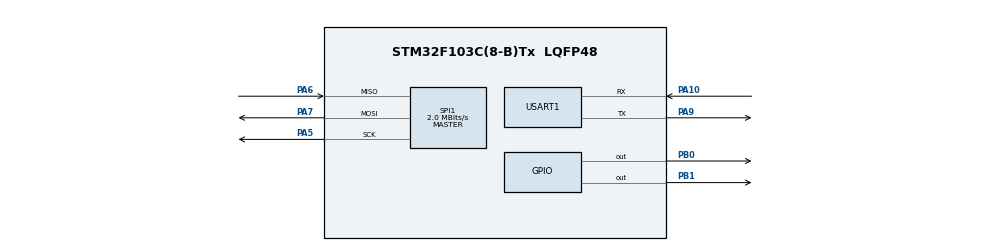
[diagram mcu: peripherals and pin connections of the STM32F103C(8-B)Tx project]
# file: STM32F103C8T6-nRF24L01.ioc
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Mcu.Family=STM32F1
Mcu.Name=STM32F103C(8-B)Tx
Mcu.Package=LQFP48
NVIC.PriorityGroup=NVIC_PRIORITYGROUP_4
PA10.Mode=Asynchronous
PA10.Signal=USART1_RX
PA13.Mode=Serial_Wire
PA13.Signal=SYS_JTMS-SWDIO
PA14.Mode=Serial_Wire
PA14.Signal=SYS_JTCK-SWCLK
PA5.Mode=Full_Duplex_Master
PA5.Signal=SPI1_SCK
PA6.Mode=Full_Duplex_Master
PA6.Signal=SPI1_MISO
PA7.Mode=Full_Duplex_Master
PA7.Signal=SPI1_MOSI
PA9.Mode=Asynchronous
PA9.Signal=USART1_TX
PB0.Signal=GPIO_Output
PB1.Signal=GPIO_Output
ProjectManager.HeapSize=0x200
ProjectManager.StackSize=0x400
ProjectManager.TargetToolchain=STM32CubeIDE
RCC.APB1Freq_Value=8000000
RCC.APB2Freq_Value=8000000
SPI1.BaudRatePrescaler=SPI_BAUDRATEPRESCALER_4
SPI1.CalculateBaudRate=2.0 MBits/s
SPI1.Direction=SPI_DIRECTION_2LINES
SPI1.Mode=SPI_MODE_MASTER
SPI1.VirtualType=VM_MASTER
USART1.VirtualMode=VM_ASYNC
board=custom

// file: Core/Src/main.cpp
/* USER CODE BEGIN Header */
/**
  ******************************************************************************
  * @file           : main.c
  * @brief          : Main program body
  ******************************************************************************
  * @attention
  *
  * Copyright (c) 2022 STMicroelectronics.
  * All rights reserved.
  *
  * This software is licensed under terms that can be found in the LICENSE file
  * in the root directory of this software component.
  * If no LICENSE file comes with this software, it is provided AS-IS.
  *
  ******************************************************************************
  */
/* USER CODE END Header */
#include "main.h"

/* USER CODE BEGIN Includes */
#include "RF24.h"
/* USER CODE END Includes */

/* USER CODE BEGIN PTD */
#define MODE_TX
/* USER CODE END PTD */

SPI_HandleTypeDef hspi10;
SPI_HandleTypeDef hspi11;

UART_HandleTypeDef huart1;

/* USER CODE BEGIN PV */
const uint8_t address[6] = "00001";
/* USER CODE END PV */

void SystemClock_Config(void);
static void MX_GPIO_Init(void);
static void MX_SPI1_Init(void);
static void MX_USART1_UART_Init(void);

/* USER CODE BEGIN 0 */

void delayMicroseconds(uint32_t us)
{
	while(us--);
}

void digitalWrite(uint16_t pin, bool level)
{
	if(level)HAL_GPIO_WritePin(GPIOB, pin, GPIO_PIN_SET);
	else HAL_GPIO_WritePin(GPIOB, pin, GPIO_PIN_RESET);
}

uint8_t spiTransfer(SPI_HandleTypeDef hspi, uint8_t data)
{
	uint8_t value = 0;
	if(hspi==hspi10)
	{
		HAL_SPI_TransmitReceive(&hspi1, &data, &value, 1, 100);
	}
	else
	{

	}

	return value;
}

RF24 radio(GPIO_PIN_0, GPIO_PIN_1); // CE, CSN
/* USER CODE END 0 */

int main(void)
{

  /* MCU Configuration--------------------------------------------------------*/

  /* Reset of all peripherals, Initializes the Flash interface and the Systick. */
  HAL_Init();

  /* Configure the system clock */
  SystemClock_Config();

  /* Initialize all configured peripherals */
  MX_GPIO_Init();
  MX_SPI1_Init();
  MX_USART1_UART_Init();
  /* USER CODE BEGIN 2 */

  radio.begin();                  //Starting the Wireless communication
  radio.openWritingPipe(address); //Setting the address where we will send the data
  radio.setPALevel(RF24_PA_MIN);  //You can set it as minimum or maximum depending on the distance between the transmitter and receiver.
  radio.stopListening();
  /* USER CODE END 2 */

  /* Infinite loop */
  /* USER CODE BEGIN WHILE */
  while (1)
  {

#if defined(MODE_TX)
//	  if(nhấn nuts)
//	  {
	  	  const char text[] = "Xin chao Hung";
		  radio.write(&text, sizeof(text));
//	  }
#else
		  if (radio.available())
		  {
			  char text[10];
			  radio.read(&text, sizeof(text));    //Reading the data
		  }
#endif
    /* USER CODE END WHILE */

  }
}

void SystemClock_Config(void)
{
  RCC_OscInitTypeDef RCC_OscInitStruct = {0};
  RCC_ClkInitTypeDef RCC_ClkInitStruct = {0};

  /** Initializes the RCC Oscillators according to the specified parameters
  * in the RCC_OscInitTypeDef structure.
  */
  RCC_OscInitStruct.OscillatorType = RCC_OSCILLATORTYPE_HSI;
  RCC_OscInitStruct.HSIState = RCC_HSI_ON;
  RCC_OscInitStruct.HSICalibrationValue = RCC_HSICALIBRATION_DEFAULT;
  RCC_OscInitStruct.PLL.PLLState = RCC_PLL_NONE;
  if (HAL_RCC_OscConfig(&RCC_OscInitStruct) != HAL_OK)
  {
    Error_Handler();
  }
  /** Initializes the CPU, AHB and APB buses clocks
  */
  RCC_ClkInitStruct.ClockType = RCC_CLOCKTYPE_HCLK|RCC_CLOCKTYPE_SYSCLK
                              |RCC_CLOCKTYPE_PCLK1|RCC_CLOCKTYPE_PCLK2;
  RCC_ClkInitStruct.SYSCLKSource = RCC_SYSCLKSOURCE_HSI;
  RCC_ClkInitStruct.AHBCLKDivider = RCC_SYSCLK_DIV1;
  RCC_ClkInitStruct.APB1CLKDivider = RCC_HCLK_DIV1;
  RCC_ClkInitStruct.APB2CLKDivider = RCC_HCLK_DIV1;

  if (HAL_RCC_ClockConfig(&RCC_ClkInitStruct, FLASH_LATENCY_0) != HAL_OK)
  {
    Error_Handler();
  }
}

static void MX_SPI1_Init(void)
{

  /* SPI1 parameter configuration*/
  hspi1.Instance = SPI1;
  hspi1.Init.Mode = SPI_MODE_MASTER;
  hspi1.Init.Direction = SPI_DIRECTION_2LINES;
  hspi1.Init.DataSize = SPI_DATASIZE_8BIT;
  hspi1.Init.CLKPolarity = SPI_POLARITY_LOW;
  hspi1.Init.CLKPhase = SPI_PHASE_1EDGE;
  hspi1.Init.NSS = SPI_NSS_SOFT;
  hspi1.Init.BaudRatePrescaler = SPI_BAUDRATEPRESCALER_4;
  hspi1.Init.FirstBit = SPI_FIRSTBIT_MSB;
  hspi1.Init.TIMode = SPI_TIMODE_DISABLE;
  hspi1.Init.CRCCalculation = SPI_CRCCALCULATION_DISABLE;
  hspi1.Init.CRCPolynomial = 10;
  if (HAL_SPI_Init(&hspi1) != HAL_OK)
  {
    Error_Handler();
  }

}

static void MX_USART1_UART_Init(void)
{

  huart1.Instance = USART1;
  huart1.Init.BaudRate = 115200;
  huart1.Init.WordLength = UART_WORDLENGTH_8B;
  huart1.Init.StopBits = UART_STOPBITS_1;
  huart1.Init.Parity = UART_PARITY_NONE;
  huart1.Init.Mode = UART_MODE_TX_RX;
  huart1.Init.HwFlowCtl = UART_HWCONTROL_NONE;
  huart1.Init.OverSampling = UART_OVERSAMPLING_16;
  if (HAL_UART_Init(&huart1) != HAL_OK)
  {
    Error_Handler();
  }

}

static void MX_GPIO_Init(void)
{
  GPIO_InitTypeDef GPIO_InitStruct = {0};

  /* GPIO Ports Clock Enable */
  __HAL_RCC_GPIOA_CLK_ENABLE();
  __HAL_RCC_GPIOB_CLK_ENABLE();

  /*Configure GPIO pin Output Level */
  HAL_GPIO_WritePin(GPIOB, GPIO_PIN_0|GPIO_PIN_1, GPIO_PIN_RESET);

  /*Configure GPIO pins : PB0 PB1 */
  GPIO_InitStruct.Pin = GPIO_PIN_0|GPIO_PIN_1;
  GPIO_InitStruct.Mode = GPIO_MODE_OUTPUT_PP;
  GPIO_InitStruct.Pull = GPIO_NOPULL;
  GPIO_InitStruct.Speed = GPIO_SPEED_FREQ_LOW;
  HAL_GPIO_Init(GPIOB, &GPIO_InitStruct);

}

void Error_Handler(void)
{
  __disable_irq();
  while (1)
  {
  }
}
